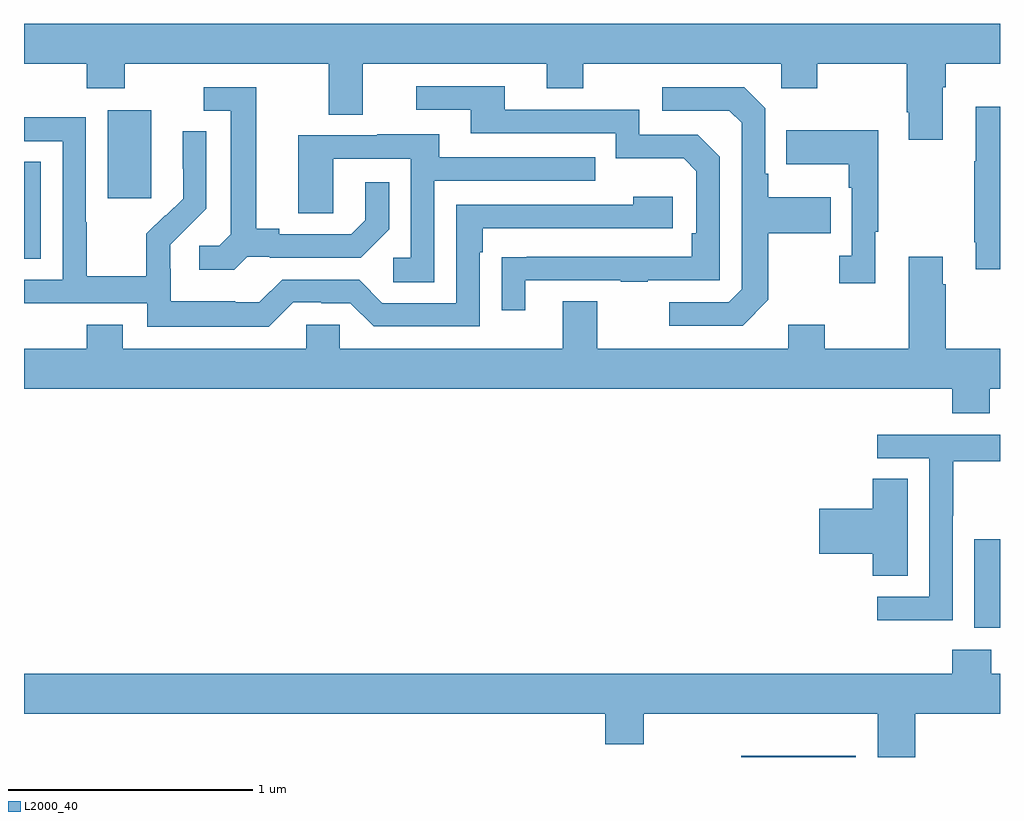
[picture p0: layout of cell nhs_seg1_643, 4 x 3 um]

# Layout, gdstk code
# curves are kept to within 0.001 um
import gdstk
lib = gdstk.Library(unit=1e-6, precision=1e-09)
def R(c, l, rs):  # rectangles x0, y0, x1, y1
    for r in rs: c.add(gdstk.rectangle(r[:2], r[2:], *l))
def P(c, l, *ps):  # polygons
    for p in ps: c.add(gdstk.Polygon(p, *l))
L2000_40 = (2000, 40)

nhs_seg1_643 = lib.new_cell('nhs_seg1_643')
R(nhs_seg1_643, L2000_40, [(147.939,574.199,148.408,574.204), (148.895,574.73,149,575.091), (145,576.241,145.069,576.638), (145.343,576.489,145.522,576.85)])
P(nhs_seg1_643, L2000_40, [(148.765,576.944),(148.778,576.944),(148.778,577.04),(149,577.04),(149,577.204),(145,577.204),(145,577.04),(145.258,577.04),(145.258,576.941),(145.413,576.941),(145.413,577.04),(146.249,577.04),(146.249,576.832),(146.389,576.832),(146.389,577.04),(147.143,577.04),(147.143,576.941),(147.291,576.941),(147.291,577.04),(148.104,577.04),(148.104,576.941),(148.251,576.941),(148.251,577.04),(148.618,577.04),(148.618,576.841),(148.625,576.841),(148.625,576.729),(148.765,576.729)],
  [(147.055,576.153),(147.445,576.153),(147.445,576.148),(147.557,576.148),(147.557,576.153),(147.852,576.153),(147.852,576.66),(147.762,576.75),(147.522,576.75),(147.522,576.852),(146.971,576.852),(146.971,576.948),(146.607,576.948),(146.607,576.852),(146.831,576.852),(146.831,576.756),(147.426,576.756),(147.426,576.653),(147.703,576.653),(147.756,576.6),(147.756,576.346),(147.736,576.346),(147.736,576.249),(146.959,576.248),(146.959,576.03),(147.055,576.03)],
  [(148.051,576.073),(148.051,576.346),(148.307,576.346),(148.307,576.493),(148.051,576.493),(148.051,576.589),(148.038,576.589),(148.038,576.858),(147.951,576.945),(147.615,576.945),(147.615,576.849),(147.891,576.849),(147.942,576.798),(147.942,576.117),(147.888,576.063),(147.645,576.063),(147.645,575.967),(147.945,575.967)],
  [(145.914,576.249),(146.008,576.249),(146.008,576.246),(146.38,576.246),(146.496,576.362),(146.496,576.556),(146.399,576.556),(146.399,576.399),(146.342,576.342),(146.047,576.342),(146.047,576.365),(145.951,576.365),(145.951,576.945),(145.737,576.945),(145.737,576.849),(145.847,576.849),(145.847,576.341),(145.8,576.294),(145.719,576.294),(145.719,576.197),(145.862,576.197)],
  [(149,576.865),(148.901,576.865),(148.901,576.641),(148.894,576.641),(148.894,576.31),(148.901,576.31),(148.901,576.198),(149,576.198)],
  [(146.103,576.063),(146.219,576.063),(146.219,576.06),(146.337,576.06),(146.433,575.964),(146.868,575.964),(146.868,576.269),(146.881,576.269),(146.881,576.366),(147.658,576.366),(147.658,576.496),(147.497,576.496),(147.497,576.462),(146.772,576.462),(146.772,576.06),(146.469,576.06),(146.373,576.156),(146.058,576.156),(145.965,576.063),(145.865,576.063),(145.865,576.067),(145.602,576.067),(145.602,576.201),(145.6,576.201),(145.6,576.298),(145.746,576.446),(145.746,576.764),(145.65,576.764),(145.65,576.61),(145.652,576.61),(145.652,576.488),(145.581,576.417),(145.578,576.42),(145.501,576.343),(145.501,576.169),(145.257,576.169),(145.257,576.392),(145.254,576.392),(145.254,576.822),(145,576.822),(145,576.723),(145.158,576.723),(145.158,576.156),(145,576.156),(145,576.06),(145.506,576.06),(145.506,575.963),(146.003,575.963)],
  [(148.489,576.353),(148.501,576.353),(148.501,576.769),(148.123,576.769),(148.123,576.629),(148.38,576.629),(148.38,576.533),(148.392,576.533),(148.392,576.254),(148.341,576.254),(148.341,576.141),(148.489,576.141)],
  [(146.682,576.561),(147.341,576.561),(147.341,576.657),(146.701,576.657),(146.701,576.751),(146.447,576.751),(146.447,576.747),(146.123,576.747),(146.123,576.427),(146.268,576.427),(146.268,576.651),(146.586,576.651),(146.586,576.246),(146.514,576.246),(146.514,576.145),(146.682,576.145)],
  [(148.957,575.708),(149,575.708),(149,575.872),(148.778,575.872),(148.778,576.137),(148.765,576.137),(148.765,576.25),(148.625,576.25),(148.625,575.872),(148.281,575.872),(148.281,575.971),(148.133,575.971),(148.133,575.872),(147.349,575.872),(147.349,576.067),(147.209,576.067),(147.209,575.872),(146.295,575.872),(146.295,575.97),(146.157,575.97),(146.157,575.872),(145.405,575.872),(145.405,575.971),(145.258,575.971),(145.258,575.872),(145,575.872),(145,575.708),(148.805,575.708),(148.805,575.609),(148.957,575.609)],
  [(148.806,575.188),(148.809,575.188),(148.809,575.412),(149,575.412),(149,575.52),(148.497,575.52),(148.497,575.424),(148.71,575.424),(148.71,574.857),(148.497,574.857),(148.497,574.759),(148.806,574.759)],
  [(148.621,575.339),(148.478,575.339),(148.478,575.216),(148.26,575.216),(148.26,575.033),(148.478,575.033),(148.478,574.942),(148.621,574.942)],
  [(149,574.54),(148.965,574.54),(148.965,574.639),(148.805,574.639),(148.805,574.54),(145,574.54),(145,574.376),(147.383,574.376),(147.383,574.252),(147.539,574.252),(147.539,574.376),(148.499,574.376),(148.499,574.199),(148.652,574.199),(148.652,574.376),(149,574.376)])

lib.write_gds('nhs_seg1_643.gds')
